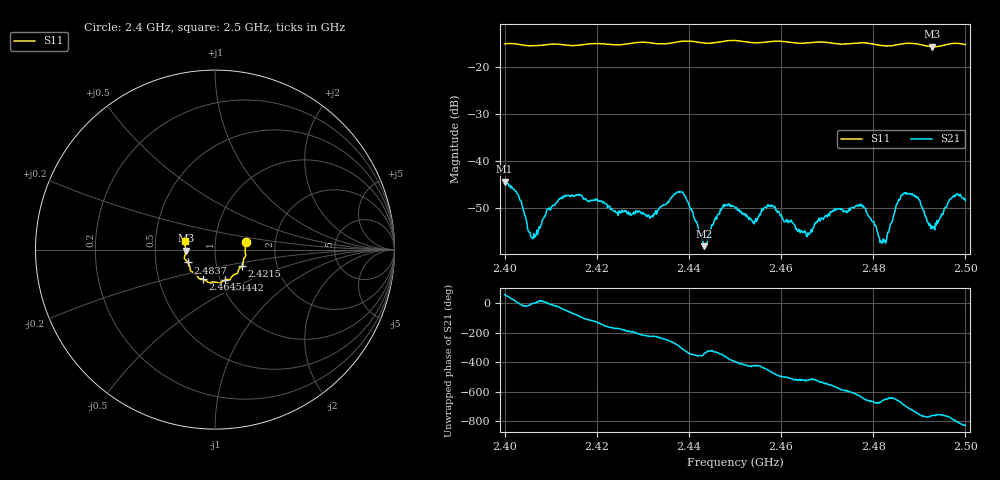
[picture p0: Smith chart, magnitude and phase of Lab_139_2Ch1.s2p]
# Hz S RI R 50
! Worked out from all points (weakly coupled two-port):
!   601 points, 2.4 GHz to 2.5 GHz, reference 50 ohm
!   highest |S21| = -44.47 dB at 2.4 GHz (marker M1); lowest = -58.2 dB at 2.4433 GHz (marker M2)
!   lowest |S11| = -15.7 dB at 2.4928 GHz (marker M3), VSWR 1.39, Z = 35.9 - j0.394 ohm
!   |S11| at or under -10 dB: start of sweep to end of sweep
!   S12 and S22 are empty: the file has one direction only
!   S11 on the Smith chart (normalised r, x): 2.4 GHz: 1.41, +0.12; 2.4215 GHz: 1.33, -0.25; 2.4442 GHz: 1.05, -0.37; 2.4645 GHz: 0.83, -0.29; 2.4837 GHz: 0.73, -0.11; 2.5 GHz: 0.71, +0.07
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2.4e9  0.1713 0.0401  0.00309 0.00511  0 0  0 0
2.406167e9  0.1676 -0.00321  0.00148 -4.5e-05  0 0  0 0
2.411833e9  0.1701 -0.0365  0.00347 -0.00183  0 0  0 0
2.416667e9  0.1568 -0.0698  -0.000285 -0.00431  0 0  0 0
2.4215e9  0.1511 -0.0896  -0.0032 -0.00178  0 0  0 0
2.433333e9  0.1083 -0.1384  -0.00192 0.00231  0 0  0 0
2.4385e9  0.0856 -0.1665  0.00279 0.00369  0 0  0 0
2.443333e9  0.0641 -0.1675  0.00117 0.00039  0 0  0 0
2.444167e9  0.0566 -0.1694  0.00123 0.000803  0 0  0 0
2.447333e9  0.033 -0.1836  0.00313 0.000611  0 0  0 0
2.45e9  0.0253 -0.1891  0.00263 -0.00182  0 0  0 0
2.454167e9  -2.61e-05 -0.1806  0.000876 -0.00194  0 0  0 0
2.458167e9  -0.0292 -0.185  -0.00122 -0.00308  0 0  0 0
2.4645e9  -0.0658 -0.1658  -0.0017 -0.00052  0 0  0 0
2.466667e9  -0.0826 -0.1621  -0.00154 -0.000824  0 0  0 0
2.477e9  -0.135 -0.1196  -0.000109 0.00329  0 0  0 0
2.481667e9  -0.141 -0.0931  0.000901 0.00106  0 0  0 0
2.483333e9  -0.1491 -0.0749  0.000511 0.00166  0 0  0 0
2.483667e9  -0.151 -0.0716  0.000528 0.00199  0 0  0 0
2.487167e9  -0.1705 -0.0503  0.00436 0.00141  0 0  0 0
2.492833e9  -0.1635 -0.00534  0.0014 -0.00129  0 0  0 0
2.5e9  -0.1651 0.0506  -0.00124 -0.00354  0 0  0 0
